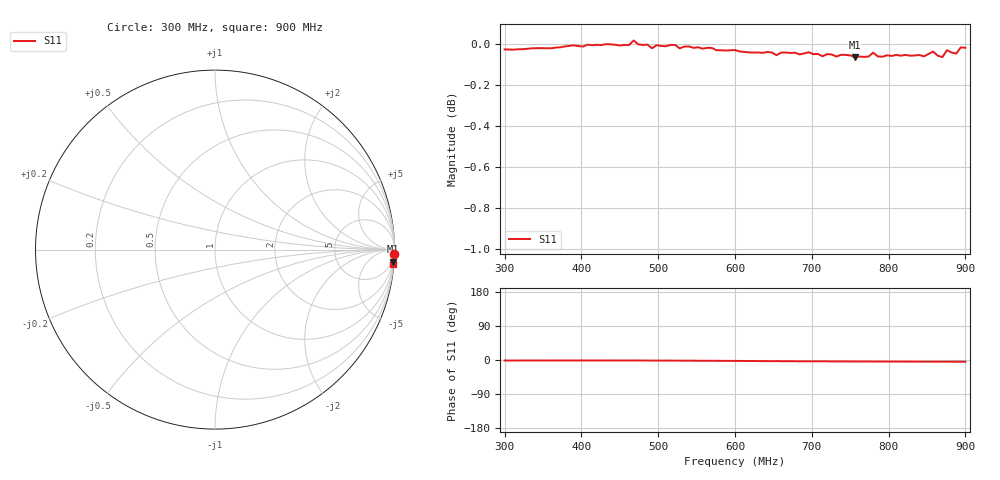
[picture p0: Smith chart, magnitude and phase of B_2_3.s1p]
# HZ S RI R 50
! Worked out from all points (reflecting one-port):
!   101 points, 300 MHz to 900 MHz, reference 50 ohm
!   lowest |S11| = -0.1 dB at 756 MHz (marker M1), VSWR 263.46, Z = 161 - j1.45e+03 ohm
!   phase of S11 starts at -1 deg and turns -3 deg over the sweep
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3e8  0.9966 -0.0236
3.78e8  0.9982 -0.0217
4.5e8  0.9988 -0.0231
4.62e8  0.999 -0.0239
4.68e8  1.002 -0.0212
4.74e8  0.9994 -0.0241
4.8e8  0.9991 -0.0232
4.92e8  0.9971 -0.0263
5.16e8  0.9989 -0.0281
5.28e8  0.997 -0.0295
6e8  0.9956 -0.042
6.24e8  0.994 -0.0461
6.48e8  0.9937 -0.0542
6.54e8  0.9923 -0.0514
6.6e8  0.9936 -0.0548
6.78e8  0.9933 -0.0585
7.5e8  0.9912 -0.0674
7.56e8  0.9901 -0.0677
7.8e8  0.9924 -0.072
7.86e8  0.9904 -0.0704
8.28e8  0.9906 -0.0736
8.46e8  0.99 -0.0762
8.58e8  0.9927 -0.0762
8.7e8  0.9895 -0.0773
8.76e8  0.9935 -0.0763
8.88e8  0.9913 -0.0801
8.94e8  0.9948 -0.0796
9e8  0.9945 -0.0809
